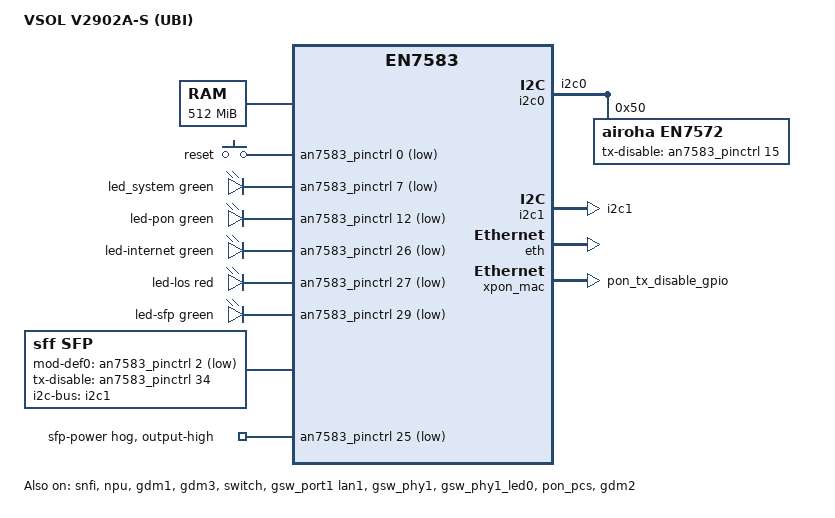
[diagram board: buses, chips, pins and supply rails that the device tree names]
// SPDX-License-Identifier: GPL-2.0-or-later OR MIT
/dts-v1/;

#include <dt-bindings/gpio/gpio.h>
#include <dt-bindings/input/input.h>
#include <dt-bindings/leds/common.h>
#include "an7583.dtsi"

/ {
	model = "VSOL V2902A-S (UBI)";
	compatible = "vsol,v2902a-s-ubi", "airoha,an7583", "airoha,en7583";

	aliases {
		led-boot = &led_system;
		led-failsafe = &led_system;
		led-running = &led_system;
		led-upgrade = &led_system;
		serial0 = &uart1;
	};

	chosen {
		bootargs = "console=ttyS0,115200 earlycon root=/dev/fit0 rootwait";
		rootdisk = <&ubi_fit>;
		stdout-path = "serial0:115200n8";
		linux,usable-memory-range = <0x0 0x80200000 0x0 0x1fe00000>;
	};

	memory@80000000 {
		device_type = "memory";
		reg = <0x0 0x80000000 0x0 0x20000000>;
	};

	gpio-keys {
		compatible = "gpio-keys";

		button-reset {
			label = "reset";
			linux,code = <KEY_RESTART>;
			gpios = <&an7583_pinctrl 0 GPIO_ACTIVE_LOW>;
			debounce-interval = <60>;
		};
	};

	leds {
		compatible = "gpio-leds";

		led_system: led-system {
			color = <LED_COLOR_ID_GREEN>;
			function = LED_FUNCTION_POWER;
			gpios = <&an7583_pinctrl 7 GPIO_ACTIVE_LOW>;
			panic-indicator;
		};

		led-pon {
			color = <LED_COLOR_ID_GREEN>;
			function = "pon";
			gpios = <&an7583_pinctrl 12 GPIO_ACTIVE_LOW>;
			linux,default-trigger = "pon0-registration";
		};

		led-internet {
			color = <LED_COLOR_ID_GREEN>;
			function = LED_FUNCTION_WAN;
			gpios = <&an7583_pinctrl 26 GPIO_ACTIVE_LOW>;
		};

		led-los {
			color = <LED_COLOR_ID_RED>;
			function = "los";
			gpios = <&an7583_pinctrl 27 GPIO_ACTIVE_LOW>;
			linux,default-trigger = "pon0-los";
		};

		led-sfp {
			color = <LED_COLOR_ID_GREEN>;
			function = "sfp";
			gpios = <&an7583_pinctrl 29 GPIO_ACTIVE_LOW>;
		};
	};

	sfp: sfp {
		compatible = "sff,sfp";
		i2c-bus = <&i2c1>;
		mod-def0-gpios = <&an7583_pinctrl 2 GPIO_ACTIVE_LOW>;
		tx-disable-gpios = <&an7583_pinctrl 34 GPIO_ACTIVE_HIGH>;
		maximum-power-milliwatt = <3000>;
	};
};

&an7583_pinctrl {
	gpio-ranges = <&an7583_pinctrl 0 2 53>;

	mdio0_pins: mdio0-pins {
		mux {
			function = "mdio";
			groups = "mdio";
		};

		conf {
			pins = "mdio_0";
			output-high;
		};
	};

	spi_pins: spi-pins {
		mux {
			function = "spi";
			groups = "spi";
		};
	};

	gswp1_led0_pins: gswp1-led0-pins {
		mux {
			function = "phy1_led0";
			pins = "gpio1";
		};
	};

	pon_pins: pon-pins {
		mux {
			/* GPIO15 stays with the optical frontend as TX_DISABLE. */
			function = "pon";
			groups = "pon_tx_disable_gpio";
		};
	};

	sfp-power {
		gpio-hog;
		gpios = <25 GPIO_ACTIVE_LOW>;
		output-high;
		line-name = "sfp-power";
	};
};

&snfi {
	pinctrl-names = "default";
	pinctrl-0 = <&spi_pins>;
	status = "okay";
};

&spi_nand {
	partitions {
		compatible = "fixed-partitions";
		#address-cells = <1>;
		#size-cells = <1>;

		partition@0 {
			label = "bl2";
			reg = <0x00000000 0x00020000>;
			read-only;
		};

		partition@20000 {
			label = "ubi";
			reg = <0x00020000 0x06860000>;
			compatible = "linux,ubi";

			volumes {
				ubi-volume-bosa {
					volname = "bosa";
				};

				ubi-volume-ri {
					volname = "ri";
				};

				ubi_fit: ubi-volume-fit {
					volname = "fit";
				};

				ubi-volume-fip {
					volname = "fip";
				};

				ubi_env: ubi-volume-ubootenv {
					volname = "ubootenv";
				};

				ubi_env2: ubi-volume-ubootenv2 {
					volname = "ubootenv2";
				};
			};
		};

		partition@6880000 {
			label = "factory";
			reg = <0x06880000 0x00100000>;
		};

		partition@6c80000 {
			label = "art";
			reg = <0x06c80000 0x00380000>;
			read-only;

			nvmem-layout {
				compatible = "fixed-layout";
				#address-cells = <1>;
				#size-cells = <1>;

				pon_calibration: calibration@260000 {
					reg = <0x260000 0x200>;
				};
			};
		};
	};
};

&ubi_env {
	nvmem-layout {
		compatible = "u-boot,env-redundant-bool-layout";
	};
};

&ubi_env2 {
	nvmem-layout {
		compatible = "u-boot,env-redundant-bool-layout";
	};
};

&an7583_pinctrl {
	i2c0_pins: i2c0-pins {
		mux {
			function = "i2c";
			groups = "i2c0";
		};
	};

	i2c1_pins: i2c1-pins {
		mux {
			function = "i2c";
			groups = "i2c1";
		};
	};
};

&i2c0 {
	status = "okay";

	pinctrl-names = "default";
	pinctrl-0 = <&i2c0_pins>;

	en7572: optical-front-end@50 {
		compatible = "airoha,en7572";
		reg = <0x50>;
		/* vendor DTS: phy_tx_power_disable is active-high, default on */
		tx-disable-gpios = <&an7583_pinctrl 15 GPIO_ACTIVE_HIGH>;
		nvmem-cells = <&pon_calibration>;
		nvmem-cell-names = "calibration";
	};
};

&i2c1 {
	status = "okay";

	pinctrl-names = "default";
	pinctrl-0 = <&i2c1_pins>;
};

&npu {
	status = "okay";
};

&eth {
	status = "okay";
};

&gdm1 {
	status = "okay";
};

&gdm3 {
	openwrt,netdev-name = "eth1";
	managed = "in-band-status";
	phy-mode = "usxgmii";
	sfp = <&sfp>;
	status = "okay";
};

&switch {
	status = "okay";
	pinctrl-names = "default";
	pinctrl-0 = <&mdio0_pins>;
};

&gsw_port1 {
	status = "okay";
	label = "lan1";
};

&gsw_phy1 {
	status = "okay";
	interrupts = <1>;
	pinctrl-names = "gbe-led";
	pinctrl-0 = <&gswp1_led0_pins>;
};

&gsw_phy1_led0 {
	status = "okay";
	color = <LED_COLOR_ID_GREEN>;
	active-low;
};

&pon_pcs {
	status = "okay";
};

&{/soc} {
	xpon_mac: ethernet@1fb64000 {
		compatible = "airoha,an7583-xpon-mac";
		reg = <0x0 0x1fb64000 0x0 0x3e8>,
		      <0x0 0x1fb65000 0x0 0xff8>,
		      <0x0 0x1fb66000 0x0 0x1000>,
		      <0x0 0x1faf0000 0x0 0x2000>;
		reg-names = "gpon", "xgpon", "epon", "pon-phy";

		interrupts = <GIC_SPI 42 IRQ_TYPE_LEVEL_HIGH>,
			     <GIC_SPI 43 IRQ_TYPE_LEVEL_HIGH>;
		interrupt-names = "mac", "phy";

		pcs-handle = <&pon_pcs>;
		airoha,scu = <&scuclk>;
		airoha,default-line-mode = "xgpon";

		optical-front-end = <&en7572>;
		data-path = <&gdm2>;

		pinctrl-names = "default";
		pinctrl-0 = <&pon_pins>;

		status = "okay";
	};
};

&gdm2 {
	airoha,pon-data-path;
	status = "okay";
};
